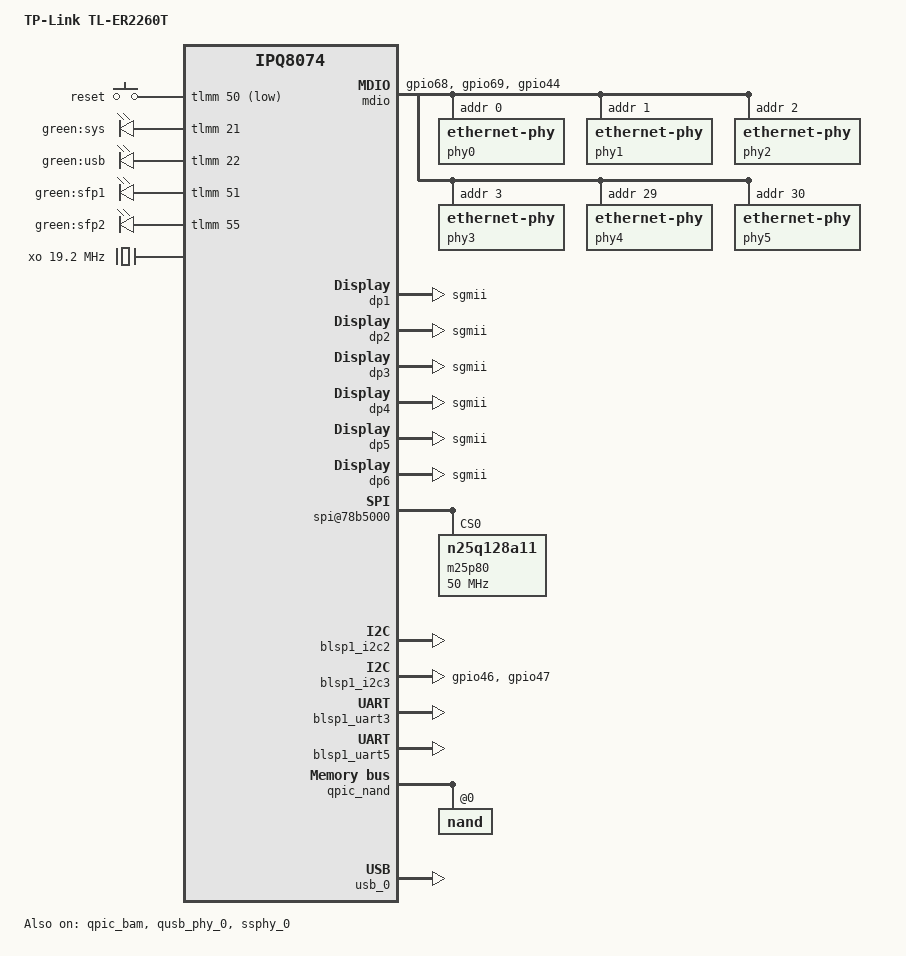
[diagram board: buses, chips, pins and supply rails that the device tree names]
// SPDX-License-Identifier: GPL-2.0-only
/* Copyright (c) 2020 The Linux Foundation. All rights reserved.
 */

/dts-v1/;

#include "ipq8074.dtsi"
#include "ipq8074-hk-cpu.dtsi"
#include "ipq8074-ess-switch.dtsi"
#include <dt-bindings/gpio/gpio.h>
#include <dt-bindings/input/input.h>
#include <dt-bindings/leds/common.h>
/ {
	#address-cells = <0x2>;
	#size-cells = <0x2>;
	model = "TP-Link TL-ER2260T";
	compatible = "tplink,tl-er2260t", "qcom,ipq8074";
	qcom,msm-id = <0x143 0x0>;
	interrupt-parent = <&intc>;

	aliases {
		led-boot = &led_sys;
		led-failsafe = &led_sys;
		led-running = &led_sys;
		led-upgrade = &led_sys;
		serial0 = &blsp1_uart5;
		serial1 = &blsp1_uart3;

		ethernet0 = "/soc/dp1";
		ethernet1 = "/soc/dp2";
		ethernet2 = "/soc/dp3";
		ethernet3 = "/soc/dp4";
		ethernet4 = "/soc/dp5";
		ethernet5 = "/soc/dp6";
	};

	chosen {
		stdout-path = "serial0";
		bootargs-append = " root=/dev/ubiblock0_1 swiotlb=1 coherent_pool=2M";
	};

	soc {


		mdio: mdio@90000 {
			pinctrl-0 = <&mdio_pins>;
			pinctrl-names = "default";
			phy-reset-gpio = <&tlmm 37 0 &tlmm 44 1>;

			phy0: ethernet-phy@0 {
				reg = <0>;
			};
			phy1: ethernet-phy@1 {
				reg = <1>;
			};
			phy2: ethernet-phy@2 {
				reg = <2>;
			};
			phy3: ethernet-phy@3 {
				reg = <3>;
			};
			phy4: ethernet-phy@4 {
				reg = <29>;
			};
			phy5: ethernet-phy@5 {
				reg = <30>;
			};
		};

		ess-switch@3a000000 {
			//pinctrl-0 = <&uniphy_pins>;	//not needed here!
			pinctrl-names = "default";
			switch_cpu_bmp = <0x1>;  /* cpu port bitmap */
			// switch_lan_bmp = <0x7e>; /* lan port bitmap */
			// switch_wan_bmp = <0x0>; /* wan port bitmap */

			switch_lan_bmp = <0x3e>; /* lan port bitmap */
			switch_wan_bmp = <0x40>; /* wan port bitmap */

			switch_mac_mode = <0xb>; /* mac mode for uniphy instance0*/
			switch_mac_mode1 = <0xe>; /* mac mode for uniphy instance1*/ //use 10g_baser mode for default
			switch_mac_mode2 = <0xe>; /* mac mode for uniphy instance2*/ //use 10g_baser mode for default
			bm_tick_mode = <0>; /* bm tick mode */
			tm_tick_mode = <0>; /* tm tick mode */
			cmnblk_clk = "external_50MHz";

			//sfp1_gpio=<&tlmm 29 0>;	//test only
			//sfp2_gpio=<&tlmm 30 0>;	//test only

			qcom,port_phyinfo {
				port@0 {
					port_id = <1>;
					phy_address = <0>;
				};
				port@1 {
					port_id = <2>;
					phy_address = <1>;
				};
				port@2 {
					port_id = <3>;
					phy_address = <2>;
				};
				port@3 {
					port_id = <4>;
					phy_address = <3>;
				};
				port@4 {
					 port_id = <5>;
					phy_address = <29>;//29
					phy_i2c_address = <29>;//29
					phy-i2c-mode; /*i2c access phy */
					media-type = "sfp"; /* fiber mode */
				};
				port@5 {
					port_id = <6>;
					phy_address = <30>;//30
					phy_i2c_address = <30>;//30
					phy-i2c-mode; /*i2c access phy */
					media-type = "sfp"; /* fiber mode */
				};
			};
		};

		nss-macsec1 {
			compatible = "qcom,nss-macsec";
			phy_addr = <0x1c>;
			phy_access_mode = <0x00>;
			mdiobus = <&mdio>;
		};

		watchdog@b017000 {
			compatible = "qcom,kpss-wdt-ipq807x";
			reg = <0xb017000 0x1000>;
			reg-names = "kpss_wdt";
			interrupt-names = "bark_irq";
			interrupts = <0x00 0x03 0x00>;
			clocks = <&sleep_clk>;
			timeout-sec = <0x0a>;
			wdt-max-timeout = <0x20>;
		};

		dp1 {
			device_type = "network";
			compatible = "qcom,nss-dp";
			qcom,id = <1>;
			reg = <0x3a001000 0x200>;
			qcom,mactype = <0>;
			local-mac-address = [000000000000];
			qcom,link-poll = <1>;
			qcom,phy-mdio-addr = <0>;
			phy-mode = "sgmii";
		};

		dp2 {
			device_type = "network";
			compatible = "qcom,nss-dp";
			qcom,id = <2>;
			reg = <0x3a001200 0x200>;
			qcom,mactype = <0>;
			local-mac-address = [000000000000];
			qcom,link-poll = <1>;
			qcom,phy-mdio-addr = <1>;
			phy-mode = "sgmii";
		};

		dp3 {
			device_type = "network";
			compatible = "qcom,nss-dp";
			qcom,id = <3>;
			reg = <0x3a001400 0x200>;
			qcom,mactype = <0>;
			local-mac-address = [000000000000];
			qcom,link-poll = <1>;
			qcom,phy-mdio-addr = <2>;
			phy-mode = "sgmii";
		};

		dp4 {
			device_type = "network";
			compatible = "qcom,nss-dp";
			qcom,id = <4>;
			reg = <0x3a001600 0x200>;
			qcom,mactype = <0>;
			local-mac-address = [000000000000];
			qcom,link-poll = <1>;
			qcom,phy-mdio-addr = <3>;
			phy-mode = "sgmii";
		};

		dp5 {
			device_type = "network";
			compatible = "qcom,nss-dp";
			qcom,id = <5>;
			reg = <0x3a003000 0x3fff>;
			qcom,mactype = <1>;
			local-mac-address = [000000000000];
			qcom,link-poll = <1>;
			qcom,phy-mdio-addr = <29>;
			phy-mode = "sgmii";
		};

		dp6 {
			device_type = "network";
			compatible = "qcom,nss-dp";
			qcom,id = <6>;
			reg = <0x3a007000 0x3fff>;
			qcom,mactype = <1>;
			local-mac-address = [000000000000];
			qcom,link-poll = <1>;
			qcom,phy-mdio-addr = <30>;
			phy-mode = "sgmii";
		};
	};

	gpio_keys {
		compatible = "gpio-keys";
		pinctrl-0 = <&button_pins>;
		pinctrl-names = "default";

		reset {
			label = "reset";
			linux,code = <KEY_RESTART>;
			gpios = <&tlmm 50 GPIO_ACTIVE_LOW>;
			linux,input-type = <1>;
			debounce-interval = <60>;
		};
	};

	leds {
		compatible = "gpio-leds";
		pinctrl-0 = <&leds_pins>;
		pinctrl-names = "default";

		led_sys: sys {
			label = "green:sys";
			gpios = <&tlmm 21 GPIO_ACTIVE_HIGH>;
		};

		usb {
			label = "green:usb";
			gpios = <&tlmm 22 GPIO_ACTIVE_HIGH>;
			linux,default-trigger = "usbport";
		};

		sfp1-green {
			label = "green:sfp1";
			gpios = <&tlmm 51 GPIO_ACTIVE_HIGH>;
		};

		sfp2-green {
			label = "green:sfp2";
			gpios = <&tlmm 55 GPIO_ACTIVE_HIGH>;
		};
	};

	spi@78b5000 {
		status = "ok";
		pinctrl-0 = <&spi_0_pins>;
		pinctrl-names = "default";
		cs-select = <0>;

		m25p80@0 {
			  compatible = "n25q128a11";
			  #address-cells = <1>;
			  #size-cells = <1>;
			  reg = <0>;
			  spi-max-frequency = <50000000>;
		};
	};

	clocks: clocks {
		sleep_clk: sleep_clk {
			compatible = "fixed-clock";
			clock-frequency = <32000>;
			#clock-cells = <0>;
		};

		xo: xo {
			compatible = "fixed-clock";
			clock-frequency = <19200000>;
			#clock-cells = <0>;
		};

		bias_pll_cc_clk {
			compatible = "fixed-clock";
			clock-frequency = <300000000>;
			#clock-cells = <0>;
		};
		bias_pll_nss_noc_clk {
			compatible = "fixed-clock";
			clock-frequency = <416500000>;
			#clock-cells = <0>;
		};
		pcie20_phy1_pipe_clk {
			compatible = "fixed-clock";
			clock-frequency = <125000000>;
			#clock-cells = <0>;
		};
		usb3phy_0_cc_pipe_clk {
			compatible = "fixed-clock";
			clock-frequency = <125000000>;
			#clock-cells = <0>;
		};

		usb3phy_1_cc_pipe_clk {
			compatible = "fixed-clock";
			clock-frequency = <125000000>;
			#clock-cells = <0x00>;
		};
	};


};

&tlmm {
	mdio_pins: mdio_pinmux {
		mux_0 {
			pins = "gpio68";
			function = "mdc";
			drive-strength = <8>;
			bias-pull-up;
		};
		mux_1 {
			pins = "gpio69";
			function = "mdio";
			drive-strength = <8>;
			bias-pull-up;
		};
		mux_2 {
			pins = "gpio44";
			function = "gpio";
			bias-pull-up;
		};
	};

	i2c_1_pins: i2c_1_pins {
		pins = "gpio46", "gpio47";
		function = "blsp2_i2c";
		drive-strength = <8>;
		bias-disable;
	};

	// hsuart_pins: hsuart-pins {
	// 	pins = "gpio49";
	// 	function = "blsp2_uart";
	// 	drive-strength = <8>;
	// 	bias-disable;
	// };

	button_pins: button_pins {
		reset {
			pins = "gpio50";
			function = "gpio";
			drive-strength = <8>;
			bias-pull-up;
		};
	};

	uniphy_pins: uniphy_pinmux {
		mux {
			pins = "gpio60";
			function = "rx2";
			bias-disable;
		};
		sfp_tx {
			pins = "gpio59";
			function = "gpio";
			drive-strength = <8>;
			bias-pull-down;
			//output-high;
			output-low;
		};
	};

	leds_pins: leds_pinmux {
		mux {
			pins = "gpio21", "gpio22", "gpio65";
			function = "gpio";
			drive-strength = <8>;
			bias-pull-down;
		};
		led_sfp1_active {
			pins = "gpio51";
			function = "gpio";
			drive-strength = <8>;
			bias-pull-down;
		};
		led_sfp2_active {
			pins = "gpio55";
			function = "gpio";
			drive-strength = <8>;
			bias-pull-down;
		};
	};

};

// &apc_cpr {
// 	/* Same CPR configuration as OAK */
// 	compatible = "qcom,cpr4-ipq817x-apss-regulator";

// 	thread@0 {
// 		apc_vreg: regulator {
// 			regulator-min-microvolt = <1>;
// 			regulator-max-microvolt = <2>;
// 			qcom,cpr-fuse-corners = <2>;
// 			qcom,cpr-corners = <3>;
// 			qcom,cpr-speed-bin-corners = <3>;
// 			qcom,cpr-corner-fmax-map = <1 3>;

// 			qcom,cpr-voltage-ceiling =
// 				<840000 904000 944000>;
// 			qcom,cpr-voltage-floor =
// 				<592000 648000 712000>;
// 			qcom,corner-frequencies =
// 				<1017600000 1382400000 1382400000>;

// 			qcom,cpr-open-loop-voltage-fuse-adjustment-0 =
// 				/* Speed bin 0; CPR rev 0..7 */
// 				< 0      0>,
// 				< 0      0>,
// 				< 0      0>,
// 				< 0      0>,
// 				< 0      0>,
// 				< 0      0>,
// 				< 0      0>,
// 				< 0      0>;

// 			qcom,cpr-open-loop-voltage-fuse-adjustment-1 =
// 				/* Speed bin 0; CPR rev 0..7 */
// 				<     0      0>,
// 				<     0      0>,
// 				<     0      0>,
// 				< 20000  26000>,
// 				<     0      0>,
// 				<     0      0>,
// 				<     0      0>,
// 				<     0      0>;

// 			qcom,cpr-open-loop-voltage-fuse-adjustment-v2-0 =
// 				/* Speed bin 0; CPR rev 0..7 */
// 				<     0      0>,
// 				<     0      0>,
// 				<     0      0>,
// 				<     0      0>,
// 				<     0      0>,
// 				<     0      0>,
// 				<     0      0>,
// 				<     0      0>;

// 			qcom,cpr-open-loop-voltage-fuse-adjustment-v2-1 =
// 				/* Speed bin 0; CPR rev 0..7 */
// 				<     0      0>,
// 				<     0   7000>,
// 				<     0      0>,
// 				<     0      0>,
// 				<     0      0>,
// 				<     0      0>,
// 				<     0      0>,
// 				<     0      0>;

// 			qcom,cpr-floor-to-ceiling-max-range =
// 				< 40000 40000 40000>,
// 				< 40000 40000 40000>,
// 				< 40000 40000 40000>,
// 				< 40000 40000 40000>,
// 				< 40000 40000 40000>,
// 				< 40000 40000 40000>,
// 				< 40000 40000 40000>,
// 				< 40000 40000 40000>;
// 		};
// 	};
// };


&cpus {
	cpu0_opp_table: opp_table0 {
		compatible = "operating-points-v2";
		opp-shared;

		opp01 {
			opp-hz = /bits/ 64 <1017600000>;
			opp-microvolt = <1>;
			clock-latency-ns = <200000>;
		};
		opp02 {
			opp-hz = /bits/ 64 <1382400000>;
			opp-microvolt = <2>;
			clock-latency-ns = <200000>;
		};
		opp03 {
			opp-hz = /bits/ 64 <1651200000>;
			opp-microvolt = <3>;
			clock-latency-ns = <200000>;
		};
		opp04 {
			opp-hz = /bits/ 64 <1843200000>;
			opp-microvolt = <4>;
			clock-latency-ns = <200000>;
		};
		opp05 {
			opp-hz = /bits/ 64 <1920000000>;
			opp-microvolt = <5>;
			clock-latency-ns = <200000>;
		};
		opp06 {
			opp-hz = /bits/ 64 <2208000000>;
			opp-microvolt = <6>;
			clock-latency-ns = <200000>;
		};
	};
};



&blsp1_i2c2 {
	status = "ok";
};

&blsp1_i2c3 {
	pinctrl-0 = <&i2c_1_pins>;
	pinctrl-names = "default";
	status = "ok";
};

&blsp1_uart3 {
	status = "ok";
};

&blsp1_uart5 {
	status = "ok";
};

// &npu_cpr {
// 	status = "disabled";
// };

// &nss0 {
// 	//mx-supply = <&S5regulator>;
// 	npu-supply = <&dummy_reg>;
// 	qcom,low-frequency = <187200000>;
// 	qcom,mid-frequency = <748800000>;
// 	qcom,max-frequency = <1497600000>;
// };

&qpic_bam {
	//clock-names = "bam_clk";//test
	status = "ok";
};

&qpic_nand {
	status = "ok";

	nand@0 {
		reg = <0>;
		#address-cells = <1>;
		#size-cells = <1>;

		nand-ecc-strength = <4>;
		nand-ecc-step-size = <512>;
		nand-bus-width = <8>;

		// partitions {
		// 	compatible = "qcom,smem";
		// };
	};
};

&qusb_phy_0 {
	status = "ok";
};

&ssphy_0 {
	status = "ok";
};

&usb_0 {
	status = "okay";
};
